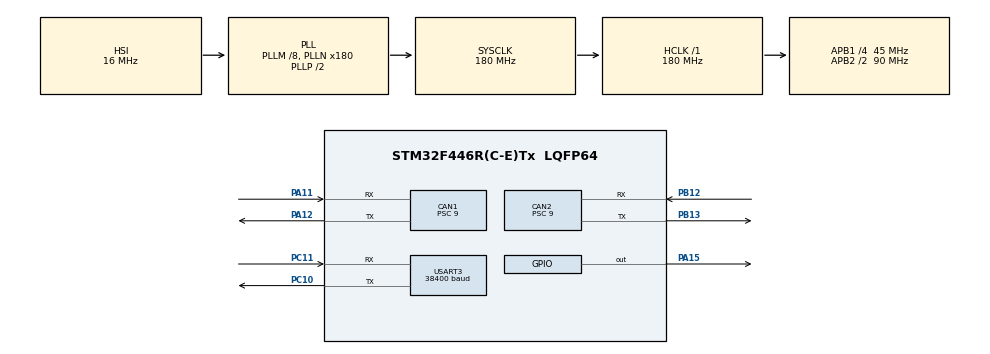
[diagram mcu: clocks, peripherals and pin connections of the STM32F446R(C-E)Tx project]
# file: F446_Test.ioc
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CAN1.ABOM=ENABLE
CAN1.BS1=CAN_BS1_3TQ
CAN1.CalculateBaudRate=1000000
CAN1.CalculateTimeBit=1000
CAN1.CalculateTimeQuantum=200.0
CAN1.NART=ENABLE
CAN1.Prescaler=9
CAN2.ABOM=ENABLE
CAN2.AWUM=DISABLE
CAN2.BS1=CAN_BS1_3TQ
CAN2.BS2=CAN_BS2_1TQ
CAN2.CalculateBaudRate=1000000
CAN2.CalculateTimeBit=1000
CAN2.CalculateTimeQuantum=200.0
CAN2.NART=ENABLE
CAN2.Prescaler=9
CAN2.SJW=CAN_SJW_1TQ
Mcu.Family=STM32F4
Mcu.Name=STM32F446R(C-E)Tx
Mcu.Package=LQFP64
NVIC.PriorityGroup=NVIC_PRIORITYGROUP_4
PA11.Mode=CAN_Activate
PA11.Signal=CAN1_RX
PA12.Mode=CAN_Activate
PA12.Signal=CAN1_TX
PA15.Signal=GPIO_Output
PB12.Mode=CAN_Activate
PB12.Signal=CAN2_RX
PB13.Mode=CAN_Activate
PB13.Signal=CAN2_TX
PC10.Mode=Asynchronous
PC10.Signal=USART3_TX
PC11.Mode=Asynchronous
PC11.Signal=USART3_RX
ProjectManager.HeapSize=0x200
ProjectManager.StackSize=0x400
ProjectManager.TargetToolchain=STM32CubeIDE
RCC.AHBFreq_Value=180000000
RCC.APB1CLKDivider=RCC_HCLK_DIV4
RCC.APB1Freq_Value=45000000
RCC.APB1TimFreq_Value=90000000
RCC.APB2CLKDivider=RCC_HCLK_DIV2
RCC.APB2Freq_Value=90000000
RCC.APB2TimFreq_Value=180000000
RCC.CortexFreq_Value=180000000
RCC.HCLKFreq_Value=180000000
RCC.PLLM=8
RCC.PLLN=180
RCC.SYSCLKFreq_VALUE=180000000
RCC.SYSCLKSource=RCC_SYSCLKSOURCE_PLLCLK
RCC.USBFreq_Value=180000000
RCC.VCOOutputFreq_Value=360000000
USART3.BaudRate=38400
USART3.VirtualMode=VM_ASYNC
board=custom

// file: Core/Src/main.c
/* USER CODE BEGIN Header */
/**
  ******************************************************************************
  * @file           : main.c
  * @brief          : Main program body
  ******************************************************************************
  * @attention
  *
  * Copyright (c) 2022 STMicroelectronics.
  * All rights reserved.
  *
  * This software is licensed under terms that can be found in the LICENSE file
  * in the root directory of this software component.
  * If no LICENSE file comes with this software, it is provided AS-IS.
  *
  ******************************************************************************
  */
/* USER CODE END Header */
#include "main.h"

CAN_HandleTypeDef hcan1;
CAN_HandleTypeDef hcan2;

UART_HandleTypeDef huart3;

void SystemClock_Config(void);
static void MX_GPIO_Init(void);
static void MX_CAN2_Init(void);
static void MX_USART3_UART_Init(void);
static void MX_CAN1_Init(void);

int main(void)
{

  /* MCU Configuration--------------------------------------------------------*/

  /* Reset of all peripherals, Initializes the Flash interface and the Systick. */
  HAL_Init();

  /* Configure the system clock */
  SystemClock_Config();

  /* Initialize all configured peripherals */
  MX_GPIO_Init();
  MX_CAN2_Init();
  MX_USART3_UART_Init();
  MX_CAN1_Init();
  /* USER CODE BEGIN 2 */
  HAL_CAN_Start(&hcan1);
  HAL_CAN_Start(&hcan2);
  const unsigned char txbuf1[] = "Hello World!\r\n";

  CAN_TxHeaderTypeDef TxHeader;
  uint32_t TxMailbox;
  uint8_t TxData[8] = "hogehuga";
  TxHeader.StdId = 0x555;                 // CAN ID
  TxHeader.RTR = CAN_RTR_DATA;            // フレームタイプはデータフレーム
  TxHeader.IDE = CAN_ID_STD;              // 標準ID(11ﾋﾞｯﾄ)
  TxHeader.DLC = 8;                       // データ長は8バイトに
  TxHeader.TransmitGlobalTime = DISABLE;  // ???

  CAN_TxHeaderTypeDef TxHeader2;
  uint32_t TxMailbox2;
  uint8_t TxData2[8] = "I'mCAN1!";
  TxHeader2.StdId = 0x560;                 // CAN ID
  TxHeader2.RTR = CAN_RTR_DATA;            // フレームタイプはデータフレーム
  TxHeader2.IDE = CAN_ID_STD;              // 標準ID(11ﾋﾞｯﾄ)
  TxHeader2.DLC = 8;                       // データ長は8バイトに
  TxHeader2.TransmitGlobalTime = DISABLE;  // ???
  /* USER CODE END 2 */

  /* Infinite loop */
  /* USER CODE BEGIN WHILE */
  while (1)
  {
	  HAL_UART_Transmit(&huart3, (uint8_t *)txbuf1, sizeof(txbuf1), 0xFFFF);
	  HAL_GPIO_TogglePin(GPIOA, GPIO_PIN_15);

	  if(0 < HAL_CAN_GetTxMailboxesFreeLevel(&hcan2)){
	      HAL_CAN_AddTxMessage(&hcan2, &TxHeader, TxData, &TxMailbox);
	  }
	  if(0 < HAL_CAN_GetTxMailboxesFreeLevel(&hcan1)){
	      HAL_CAN_AddTxMessage(&hcan1, &TxHeader2, TxData2, &TxMailbox2);
	  }
	  HAL_Delay(1000);
    /* USER CODE END WHILE */

  }
}

void SystemClock_Config(void)
{
  RCC_OscInitTypeDef RCC_OscInitStruct = {0};
  RCC_ClkInitTypeDef RCC_ClkInitStruct = {0};

  /** Configure the main internal regulator output voltage
  */
  __HAL_RCC_PWR_CLK_ENABLE();
  __HAL_PWR_VOLTAGESCALING_CONFIG(PWR_REGULATOR_VOLTAGE_SCALE1);
  /** Initializes the RCC Oscillators according to the specified parameters
  * in the RCC_OscInitTypeDef structure.
  */
  RCC_OscInitStruct.OscillatorType = RCC_OSCILLATORTYPE_HSI;
  RCC_OscInitStruct.HSIState = RCC_HSI_ON;
  RCC_OscInitStruct.HSICalibrationValue = RCC_HSICALIBRATION_DEFAULT;
  RCC_OscInitStruct.PLL.PLLState = RCC_PLL_ON;
  RCC_OscInitStruct.PLL.PLLSource = RCC_PLLSOURCE_HSI;
  RCC_OscInitStruct.PLL.PLLM = 8;
  RCC_OscInitStruct.PLL.PLLN = 180;
  RCC_OscInitStruct.PLL.PLLP = RCC_PLLP_DIV2;
  RCC_OscInitStruct.PLL.PLLQ = 2;
  RCC_OscInitStruct.PLL.PLLR = 2;
  if (HAL_RCC_OscConfig(&RCC_OscInitStruct) != HAL_OK)
  {
    Error_Handler();
  }
  /** Activate the Over-Drive mode
  */
  if (HAL_PWREx_EnableOverDrive() != HAL_OK)
  {
    Error_Handler();
  }
  /** Initializes the CPU, AHB and APB buses clocks
  */
  RCC_ClkInitStruct.ClockType = RCC_CLOCKTYPE_HCLK|RCC_CLOCKTYPE_SYSCLK
                              |RCC_CLOCKTYPE_PCLK1|RCC_CLOCKTYPE_PCLK2;
  RCC_ClkInitStruct.SYSCLKSource = RCC_SYSCLKSOURCE_PLLCLK;
  RCC_ClkInitStruct.AHBCLKDivider = RCC_SYSCLK_DIV1;
  RCC_ClkInitStruct.APB1CLKDivider = RCC_HCLK_DIV4;
  RCC_ClkInitStruct.APB2CLKDivider = RCC_HCLK_DIV2;

  if (HAL_RCC_ClockConfig(&RCC_ClkInitStruct, FLASH_LATENCY_5) != HAL_OK)
  {
    Error_Handler();
  }
}

static void MX_CAN1_Init(void)
{

  hcan1.Instance = CAN1;
  hcan1.Init.Prescaler = 9;
  hcan1.Init.Mode = CAN_MODE_NORMAL;
  hcan1.Init.SyncJumpWidth = CAN_SJW_1TQ;
  hcan1.Init.TimeSeg1 = CAN_BS1_3TQ;
  hcan1.Init.TimeSeg2 = CAN_BS2_1TQ;
  hcan1.Init.TimeTriggeredMode = DISABLE;
  hcan1.Init.AutoBusOff = ENABLE;
  hcan1.Init.AutoWakeUp = DISABLE;
  hcan1.Init.AutoRetransmission = ENABLE;
  hcan1.Init.ReceiveFifoLocked = DISABLE;
  hcan1.Init.TransmitFifoPriority = DISABLE;
  if (HAL_CAN_Init(&hcan1) != HAL_OK)
  {
    Error_Handler();
  }

}

static void MX_CAN2_Init(void)
{

  hcan2.Instance = CAN2;
  hcan2.Init.Prescaler = 9;
  hcan2.Init.Mode = CAN_MODE_NORMAL;
  hcan2.Init.SyncJumpWidth = CAN_SJW_1TQ;
  hcan2.Init.TimeSeg1 = CAN_BS1_3TQ;
  hcan2.Init.TimeSeg2 = CAN_BS2_1TQ;
  hcan2.Init.TimeTriggeredMode = DISABLE;
  hcan2.Init.AutoBusOff = ENABLE;
  hcan2.Init.AutoWakeUp = DISABLE;
  hcan2.Init.AutoRetransmission = ENABLE;
  hcan2.Init.ReceiveFifoLocked = DISABLE;
  hcan2.Init.TransmitFifoPriority = DISABLE;
  if (HAL_CAN_Init(&hcan2) != HAL_OK)
  {
    Error_Handler();
  }

}

static void MX_USART3_UART_Init(void)
{

  huart3.Instance = USART3;
  huart3.Init.BaudRate = 38400;
  huart3.Init.WordLength = UART_WORDLENGTH_8B;
  huart3.Init.StopBits = UART_STOPBITS_1;
  huart3.Init.Parity = UART_PARITY_NONE;
  huart3.Init.Mode = UART_MODE_TX_RX;
  huart3.Init.HwFlowCtl = UART_HWCONTROL_NONE;
  huart3.Init.OverSampling = UART_OVERSAMPLING_16;
  if (HAL_UART_Init(&huart3) != HAL_OK)
  {
    Error_Handler();
  }

}

static void MX_GPIO_Init(void)
{
  GPIO_InitTypeDef GPIO_InitStruct = {0};

  /* GPIO Ports Clock Enable */
  __HAL_RCC_GPIOB_CLK_ENABLE();
  __HAL_RCC_GPIOA_CLK_ENABLE();
  __HAL_RCC_GPIOC_CLK_ENABLE();

  /*Configure GPIO pin Output Level */
  HAL_GPIO_WritePin(GPIOA, GPIO_PIN_15, GPIO_PIN_RESET);

  /*Configure GPIO pin : PA15 */
  GPIO_InitStruct.Pin = GPIO_PIN_15;
  GPIO_InitStruct.Mode = GPIO_MODE_OUTPUT_PP;
  GPIO_InitStruct.Pull = GPIO_NOPULL;
  GPIO_InitStruct.Speed = GPIO_SPEED_FREQ_LOW;
  HAL_GPIO_Init(GPIOA, &GPIO_InitStruct);

}

void Error_Handler(void)
{
  __disable_irq();
  while (1)
  {
  }
}
